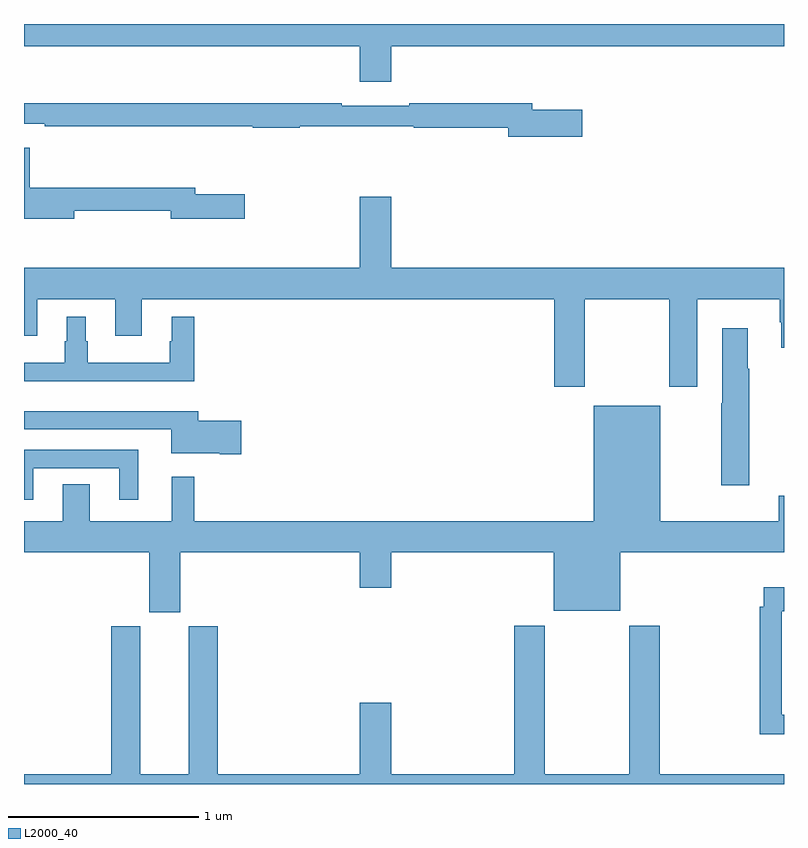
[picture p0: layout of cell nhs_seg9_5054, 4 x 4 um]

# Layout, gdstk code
import gdstk
lib = gdstk.Library(unit=1e-6, precision=1e-09)
def P(c, l, *ps):  # polygons
    for p in ps: c.add(gdstk.Polygon(p, *l))
L2000_40 = (2000, 40)

nhs_seg9_5054 = lib.new_cell('nhs_seg9_5054')
P(nhs_seg9_5054, L2000_40, [(407,1232.5),(403,1232.5),(403,1232.384),(404.768,1232.384),(404.768,1232.196),(404.932,1232.196),(404.932,1232.384),(407,1232.384)],
  [(405.937,1232.049),(405.676,1232.049),(405.676,1232.083),(405.028,1232.083),(405.028,1232.07),(404.672,1232.07),(404.672,1232.083),(403,1232.083),(403,1231.974),(403.108,1231.974),(403.108,1231.962),(404.204,1231.962),(404.204,1231.954),(404.452,1231.954),(404.452,1231.962),(405.052,1231.962),(405.052,1231.954),(405.548,1231.954),(405.548,1231.907),(405.937,1231.907)],
  [(403.264,1231.518),(403.772,1231.518),(403.772,1231.475),(404.161,1231.475),(404.161,1231.605),(403.9,1231.605),(403.9,1231.639),(403.031,1231.639),(403.031,1231.848),(403,1231.848),(403,1231.475),(403.264,1231.475)],
  [(405.951,1231.052),(406.396,1231.052),(406.396,1230.591),(406.543,1230.591),(406.543,1231.052),(406.978,1231.052),(406.978,1230.93),(406.985,1230.93),(406.985,1230.796),(407,1230.796),(407,1231.216),(404.932,1231.216),(404.932,1231.591),(404.768,1231.591),(404.768,1231.216),(403,1231.216),(403,1230.858),(403.069,1230.858),(403.069,1231.052),(403.481,1231.052),(403.481,1230.858),(403.621,1230.858),(403.621,1231.052),(405.791,1231.052),(405.791,1230.591),(405.951,1230.591)],
  [(403.895,1230.958),(403.778,1230.958),(403.778,1230.83),(403.767,1230.83),(403.767,1230.718),(403.336,1230.718),(403.336,1230.83),(403.324,1230.83),(403.324,1230.958),(403.226,1230.958),(403.226,1230.83),(403.215,1230.83),(403.215,1230.718),(403,1230.718),(403,1230.62),(403.895,1230.62)],
  [(406.818,1230.685),(406.81,1230.685),(406.81,1230.898),(406.676,1230.898),(406.676,1230.503),(406.669,1230.503),(406.669,1230.072),(406.818,1230.072)],
  [(403.822,1229.72),(404.768,1229.72),(404.768,1229.532),(404.932,1229.532),(404.932,1229.72),(405.788,1229.72),(405.788,1229.411),(406.138,1229.411),(406.138,1229.72),(407,1229.72),(407,1230.017),(406.973,1230.017),(406.973,1229.884),(406.348,1229.884),(406.348,1230.49),(405.998,1230.49),(405.998,1229.884),(403.895,1229.884),(403.895,1230.118),(403.778,1230.118),(403.778,1229.884),(403.345,1229.884),(403.345,1230.077),(403.205,1230.077),(403.205,1229.884),(403,1229.884),(403,1229.72),(403.658,1229.72),(403.658,1229.403),(403.822,1229.403)],
  [(404.143,1230.413),(403.918,1230.413),(403.918,1230.463),(403,1230.463),(403,1230.366),(403.775,1230.366),(403.775,1230.242),(404.03,1230.242),(404.03,1230.235),(404.143,1230.235)],
  [(403.048,1230.162),(403.502,1230.162),(403.502,1229.997),(403.601,1229.997),(403.601,1230.258),(403,1230.258),(403,1229.997),(403.048,1229.997)],
  [(407,1228.864),(406.989,1228.864),(406.989,1229.408),(407,1229.408),(407,1229.536),(406.893,1229.536),(406.893,1229.432),(406.873,1229.432),(406.873,1228.763),(407,1228.763)],
  [(407,1228.552),(406.346,1228.552),(406.346,1229.332),(406.186,1229.332),(406.186,1228.552),(405.741,1228.552),(405.741,1229.332),(405.581,1229.332),(405.581,1228.552),(404.932,1228.552),(404.932,1228.927),(404.768,1228.927),(404.768,1228.552),(404.021,1228.552),(404.021,1229.331),(403.868,1229.331),(403.868,1228.552),(403.612,1228.552),(403.612,1229.331),(403.46,1229.331),(403.46,1228.552),(403,1228.552),(403,1228.5),(407,1228.5)])

lib.write_gds('nhs_seg9_5054.gds')
